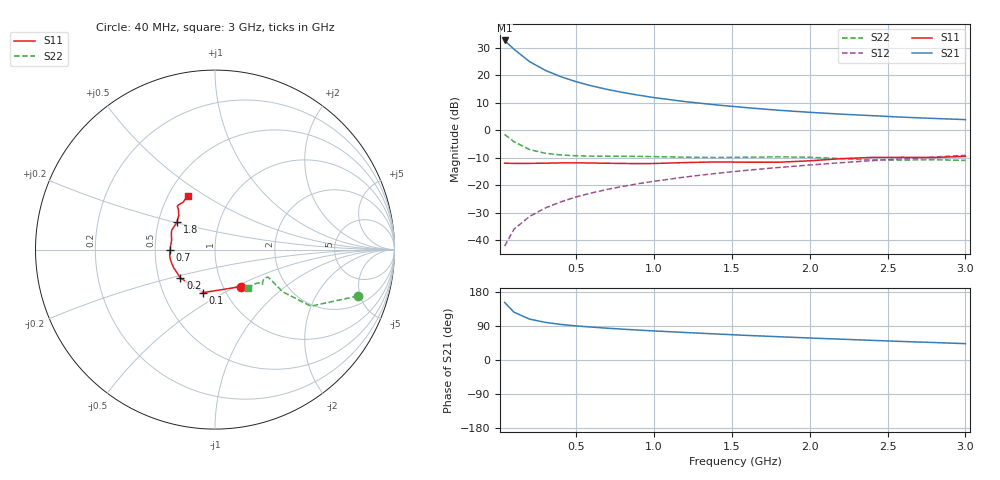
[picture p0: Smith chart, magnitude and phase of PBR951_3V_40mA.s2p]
! Filename:  PBR951I.S2P  Version:  3.0
! Philips part #:  PBR951  Date: July 1998
! Bias condition:  Vce=3V, Ic=40mA
#  MHz  S  MA  R 50
! Freq  S11  S21  S12  S22
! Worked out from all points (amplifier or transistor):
!   21 points, 40 MHz to 3 GHz, reference 50 ohm
!   highest |S21| = 32.7 dB at 40 MHz (marker M1)
!   |S21| within 3 dB of that: start of sweep to 96.42 MHz
!   unconditionally stable (mu >= 1): 346.4 MHz to 2.103 GHz
!   at 300 MHz: K = 0.99, MSG = 25.1 dB, |S12| = -28.4 dB
!   at 1 GHz: K = 1.06, MAG = 13.8 dB, |S12| = -18.6 dB
!   at 3 GHz: K = 0.95, MSG = 6.5 dB, |S12| = -9.1 dB
!   S11 on the Smith chart (normalised r, x): 40 MHz: 1.21, -0.53; 100 MHz: 0.79, -0.40; 200 MHz: 0.65, -0.22; 700 MHz: 0.60, +0.00; 1.8 GHz: 0.62, +0.20; 3 GHz: 0.63, +0.42
40  0.2516 -54.9  43.32 152.0  0.007717 78.9  0.8364 -18.0
100  0.2487 -105.4  30 126.2  0.01572 73.7  0.6199 -30.6
200  0.2491 -140.8  17.85 107.9  0.02683 75.8  0.4447 -32.0
300  0.2514 -156.4  12.42 99.4  0.03818 77.7  0.3817 -29.7
400  0.2543 -165.2  9.487 94.0  0.04944 78.5  0.3547 -28.4
500  0.2549 -171.2  7.662 90.0  0.061 79.3  0.3419 -27.8
600  0.2532 -175.7  6.43 86.8  0.07234 79.6  0.3371 -27.7
700  0.2504 179.9  5.547 83.9  0.08361 79.5  0.3356 -27.6
800  0.2482 175.6  4.876 81.3  0.09502 79.7  0.3351 -27.6
900  0.247 171.7  4.358 78.9  0.1063 79.4  0.3336 -27.5
1000  0.2479 167.1  3.939 76.7  0.1175 79.1  0.3311 -27.6
1200  0.2578 160.6  3.326 72.6  0.1407 78.2  0.3225 -29.1
1400  0.2645 155.9  2.895 68.7  0.1637 77.2  0.3182 -32.0
1600  0.2618 151.3  2.571 64.9  0.1866 76.3  0.3223 -34.9
1800  0.2614 144.2  2.317 61.4  0.2098 75.2  0.3277 -36.0
2000  0.2775 136.6  2.124 58.0  0.2327 73.9  0.3216 -36.2
2200  0.3034 132.2  1.967 55.0  0.256 72.6  0.3041 -37.6
2400  0.3202 130.9  1.846 51.8  0.2793 71.2  0.2883 -42.1
2600  0.3218 129.3  1.729 48.8  0.3021 69.9  0.2863 -47.4
2800  0.3184 124.0  1.641 46.1  0.3257 68.3  0.2904 -50.0
3000  0.3347 117.2  1.563 43.2  0.3488 66.8  0.2823 -49.4
